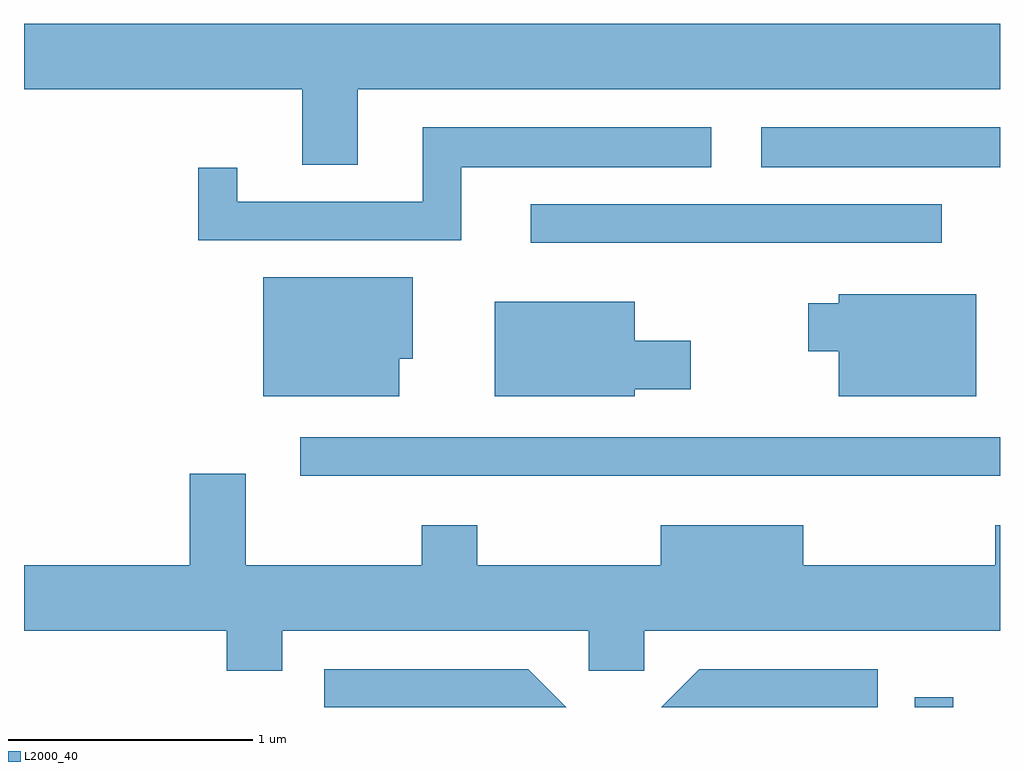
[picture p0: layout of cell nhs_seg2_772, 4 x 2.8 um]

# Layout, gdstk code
import gdstk
lib = gdstk.Library(unit=1e-6, precision=1e-09)
def R(c, l, rs):  # rectangles x0, y0, x1, y1
    for r in rs: c.add(gdstk.rectangle(r[:2], r[2:], *l))
def P(c, l, *ps):  # polygons
    for p in ps: c.add(gdstk.Polygon(p, *l))
L2000_40 = (2000, 40)

nhs_seg2_772 = lib.new_cell('nhs_seg2_772')
R(nhs_seg2_772, L2000_40, [(211.261,1025.802,211.419,1025.843), (208.743,1026.751,211.611,1026.909), (209.688,1027.706,211.373,1027.864), (210.633,1028.016,211.611,1028.179)])
P(nhs_seg2_772, L2000_40, [(208.979,1028.336),(211.611,1028.336),(211.611,1028.604),(207.611,1028.604),(207.611,1028.336),(208.751,1028.336),(208.751,1028.026),(208.979,1028.026)],
  [(209.404,1028.016),(210.428,1028.016),(210.428,1028.179),(209.246,1028.179),(209.246,1027.874),(208.484,1027.874),(208.484,1028.013),(208.326,1028.013),(208.326,1027.716),(209.404,1027.716)],
  [(209.149,1027.231),(209.204,1027.231),(209.204,1027.564),(208.591,1027.564),(208.591,1027.076),(209.149,1027.076)],
  [(211.514,1027.494),(210.951,1027.494),(210.951,1027.459),(210.826,1027.459),(210.826,1027.261),(210.951,1027.261),(210.951,1027.076),(211.514,1027.076)],
  [(210.114,1027.106),(210.344,1027.106),(210.344,1027.304),(210.114,1027.304),(210.114,1027.464),(209.541,1027.464),(209.541,1027.076),(210.114,1027.076)],
  [(208.669,1026.116),(209.926,1026.116),(209.926,1025.951),(210.154,1025.951),(210.154,1026.116),(211.611,1026.116),(211.611,1026.549),(211.591,1026.549),(211.591,1026.384),(210.804,1026.384),(210.804,1026.549),(210.221,1026.549),(210.221,1026.384),(209.469,1026.384),(209.469,1026.549),(209.241,1026.549),(209.241,1026.384),(208.519,1026.384),(208.519,1026.759),(208.291,1026.759),(208.291,1026.384),(207.611,1026.384),(207.611,1026.116),(208.441,1026.116),(208.441,1025.951),(208.669,1025.951)],
  [(211.109,1025.959),(210.379,1025.959),(210.222,1025.802),(211.109,1025.802)],
  [(209.677,1025.959),(208.841,1025.959),(208.841,1025.802),(209.834,1025.802)])

lib.write_gds('nhs_seg2_772.gds')
